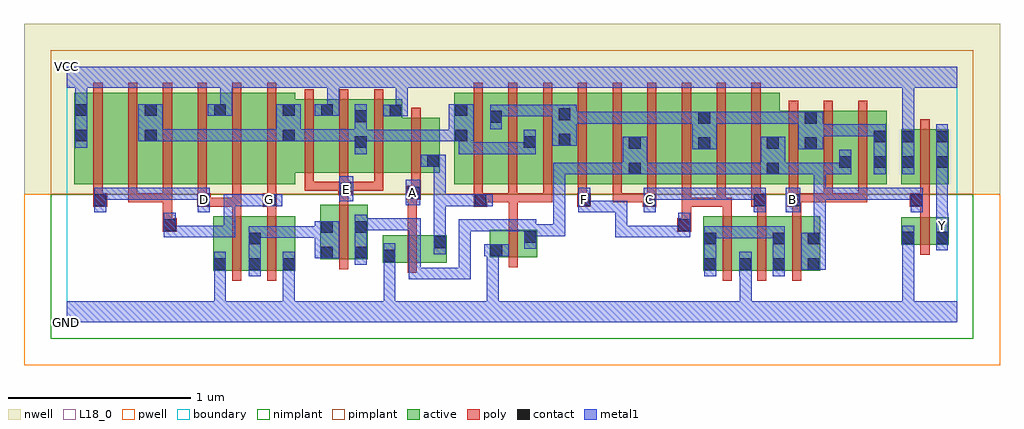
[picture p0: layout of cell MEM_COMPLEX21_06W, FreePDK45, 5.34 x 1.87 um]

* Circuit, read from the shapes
.subckt MEM_COMPLEX21_06W A B C D E F G GND VCC Y
M1 n1 D GND VSUBS nfet w=0.3u l=0.05u
M2 GND G n1 VSUBS nfet w=0.3u l=0.05u
M3 n2 E n1 VSUBS nfet w=0.3u l=0.05u
M4 n3 A GND VSUBS nfet w=0.15u l=0.05u
M5 n2 n3 GND VSUBS nfet w=0.15u l=0.05u
M6 GND F n4 VSUBS nfet w=0.3u l=0.05u
M7 n4 C GND VSUBS nfet w=0.3u l=0.05u
M8 n2 B n4 VSUBS nfet w=0.3u l=0.05u
M9 Y n2 GND VSUBS nfet w=0.15u l=0.05u
M10 n5 D VCC n6 pfet w=0.5u l=0.05u
M11 n7 G n5 n6 pfet w=0.5u l=0.05u
M12 n8 G n7 n6 pfet w=0.5u l=0.05u
M13 VCC D n8 n6 pfet w=0.5u l=0.05u
M14 n9 D VCC n6 pfet w=0.5u l=0.05u
M15 n7 G n9 n6 pfet w=0.5u l=0.05u
M16 VCC E n7 n6 pfet w=0.4u l=0.05u m=3
M17 n3 A VCC n6 pfet w=0.3u l=0.05u
M18 n10 n3 n7 n6 pfet w=0.5u l=0.05u m=3
M19 n11 F n10 n6 pfet w=0.5u l=0.05u
M20 n2 C n11 n6 pfet w=0.5u l=0.05u
M21 n12 C n2 n6 pfet w=0.5u l=0.05u
M22 n10 F n12 n6 pfet w=0.5u l=0.05u
M23 n13 F n10 n6 pfet w=0.5u l=0.05u
M24 n2 C n13 n6 pfet w=0.5u l=0.05u
M25 n10 B n2 n6 pfet w=0.4u l=0.05u m=3
M26 Y n2 VCC n6 pfet w=0.3u l=0.05u
.ends

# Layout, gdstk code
import gdstk
lib = gdstk.Library(unit=1e-6, precision=1e-09)
def R(c, l, rs):  # rectangles x0, y0, x1, y1
    for r in rs: c.add(gdstk.rectangle(r[:2], r[2:], *l))
def A(c, l, x, y, w, h, nx, ny, dx, dy):  # array of equal rectangles
    R(c, l, [(x+i*dx, y+j*dy, x+i*dx+w, y+j*dy+h) for i in range(nx) for j in range(ny)])
active = (1, 0)
pwell = (2, 0)
nwell = (3, 0)
nimplant = (4, 0)
pimplant = (5, 0)
poly = (9, 0)
contact = (10, 0)
metal1 = (11, 0)
L18_0 = (18, 0)
boundary = (235, 0)

mem_complex21_06w = lib.new_cell('MEM_COMPLEX21_06W')
A(mem_complex21_06w, active, 0.04, 0.757, 0.225, 0.5, 3, 1, 0.38, 0)
R(mem_complex21_06w, active, [(0.8,0.282,0.875,0.582), (0.8,0.282,1.065,0.582), (0.99,0.282,1.25,0.582), (0.99,0.282,1.065,0.497), (1.175,0.282,1.25,0.582), (3.482,0.282,3.557,0.582), (3.482,0.282,3.747,0.582), (3.672,0.282,3.932,0.582), (3.672,0.282,3.747,0.392), (3.857,0.282,3.932,0.582), (3.857,0.282,4.122,0.582), (4.047,0.282,4.122,0.582), (1.727,0.327,1.802,0.477), (1.727,0.327,2.077,0.477), (2.002,0.33,2.077,0.477), (1.385,0.345,1.46,0.645), (1.385,0.345,1.645,0.645), (1.57,0.345,1.645,0.645), (2.312,0.357,2.387,0.507), (2.312,0.357,2.572,0.507), (2.497,0.357,2.572,0.507), (4.565,0.425,4.64,0.575), (4.565,0.425,4.825,0.575), (4.75,0.425,4.825,0.575), (0.04,0.757,0.115,1.257), (0.265,0.757,0.495,1.257), (0.42,0.757,0.495,1.2), (0.645,0.757,0.875,1.257), (0.8,0.757,0.875,1.257), (1.025,0.757,1.25,1.257), (2.12,0.757,2.195,1.2), (2.12,0.757,2.385,1.257), (2.31,0.757,2.385,1.2), (2.31,0.757,2.57,1.257), (2.495,0.757,2.57,1.07), (2.495,0.757,2.76,1.257), (2.685,0.757,2.76,1.2), (2.685,0.757,2.915,1.257), (2.915,0.757,3.145,1.257), (3.07,0.757,3.145,1.07), (3.07,0.757,3.295,1.257), (3.295,0.757,3.525,1.257), (3.45,0.757,3.675,1.257), (3.45,0.757,3.525,1.2), (3.675,0.757,3.9,1.257), (3.825,0.757,3.9,1.07), (3.825,0.757,4.107,1.157), (4.032,0.757,4.295,1.157), (4.032,0.757,4.107,1.157), (4.22,0.757,4.485,1.157), (4.22,0.757,4.295,1.07), (4.41,0.757,4.485,1.155), (4.565,0.757,4.64,1.057), (4.565,0.757,4.825,1.057), (4.75,0.757,4.825,1.055), (1.175,0.82,1.46,1.22), (1.385,0.82,1.46,1.22), (1.385,0.82,1.645,1.22), (1.57,0.82,1.835,1.22), (1.57,0.82,1.645,1.2), (1.76,0.82,2.04,1.12), (1.965,0.847,2.04,1.055), (1.175,0.907,1.25,1.2), (1.76,0.995,1.835,1.22)])
R(mem_complex21_06w, pwell, [(-0.235,-0.235,5.105,0.7)])
R(mem_complex21_06w, nwell, [(-0.235,0.7,5.105,1.635)])
R(mem_complex21_06w, nimplant, [(-0.09,-0.09,4.96,0.7)])
R(mem_complex21_06w, pimplant, [(-0.09,0.7,4.96,1.49)])
A(mem_complex21_06w, poly, 3.587, 0.227, 0.05, 0.41, 3, 1, 0.19, 0)
A(mem_complex21_06w, poly, 3.587, 0.587, 0.05, 0.095, 3, 1, 0.19, 0)
A(mem_complex21_06w, poly, 0.145, 0.657, 0.05, 0.095, 4, 1, 0.19, 0)
A(mem_complex21_06w, poly, 2.225, 0.657, 0.05, 0.095, 6, 1, 0.19, 0)
A(mem_complex21_06w, poly, 3.95, 0.657, 0.05, 0.095, 3, 1, 0.19, 0)
A(mem_complex21_06w, poly, 0.145, 0.702, 0.05, 0.61, 6, 1, 0.19, 0)
A(mem_complex21_06w, poly, 2.225, 0.702, 0.05, 0.61, 9, 1, 0.19, 0)
A(mem_complex21_06w, poly, 3.95, 0.702, 0.05, 0.51, 3, 1, 0.19, 0)
A(mem_complex21_06w, poly, 1.3, 0.72, 0.05, 0.095, 3, 1, 0.19, 0)
A(mem_complex21_06w, poly, 1.3, 0.765, 0.05, 0.51, 3, 1, 0.19, 0)
R(mem_complex21_06w, poly, [(0.905,0.227,0.955,0.637), (1.095,0.227,1.145,0.637), (1.865,0.272,1.915,0.532), (1.49,0.29,1.54,0.7), (2.417,0.302,2.467,0.562), (4.67,0.37,4.72,0.63), (1.865,0.482,1.915,0.722), (0.525,0.495,0.6,0.57), (3.34,0.495,3.415,0.57), (2.417,0.512,2.467,0.707), (0.525,0.52,0.575,0.57), (0.525,0.52,0.575,0.57), (0.525,0.52,0.575,0.707), (3.365,0.52,3.415,0.57), (3.365,0.52,3.415,0.57), (3.365,0.52,3.415,0.682), (4.67,0.58,4.72,0.682), (0.905,0.587,0.955,0.682), (1.095,0.587,1.145,0.682), (0.145,0.632,0.22,0.707), (0.712,0.632,0.787,0.707), (0.737,0.632,0.787,0.682), (0.737,0.632,0.787,0.682), (0.737,0.632,0.955,0.682), (0.905,0.632,0.955,0.682), (0.905,0.632,0.955,0.752), (1.072,0.632,1.147,0.707), (2.225,0.632,2.3,0.707), (2.792,0.632,2.867,0.707), (3.15,0.632,3.225,0.707), (3.365,0.632,3.415,0.682), (3.365,0.632,3.415,0.682), (3.365,0.632,3.415,0.682), (3.365,0.632,3.605,0.682), (3.365,0.632,3.415,0.752), (3.555,0.632,3.605,0.752), (3.555,0.632,3.637,0.682), (3.745,0.632,3.827,0.707), (3.942,0.632,4.017,0.707), (4.612,0.632,4.72,0.707), (1.49,0.65,1.54,0.745), (0.335,0.657,0.385,0.707), (0.335,0.657,0.575,0.707), (0.525,0.657,0.575,0.707), (0.525,0.657,0.575,0.707), (0.525,0.657,0.575,0.707), (1.095,0.657,1.145,0.752), (2.25,0.657,2.465,0.707), (2.415,0.657,2.465,0.707), (2.415,0.657,2.465,0.707), (2.415,0.657,2.467,0.707), (2.417,0.657,2.655,0.707), (2.605,0.657,2.655,0.707), (2.605,0.657,2.655,0.707), (2.605,0.657,2.655,0.707), (2.985,0.657,3.035,0.707), (2.985,0.657,3.035,0.707), (2.985,0.657,3.035,0.707), (2.985,0.657,3.2,0.707), (3.745,0.657,3.795,0.752), (3.967,0.657,4.017,0.707), (3.967,0.657,4.017,0.707), (3.967,0.657,4.19,0.707), (4.14,0.657,4.19,0.707), (4.14,0.657,4.38,0.707), (4.33,0.657,4.38,0.707), (4.33,0.657,4.38,0.707), (4.33,0.657,4.38,0.707), (4.67,0.657,4.72,0.752), (1.86,0.672,1.935,0.747), (1.485,0.695,1.56,0.77), (1.885,0.697,1.935,0.815), (4.67,0.702,4.72,1.112), (1.3,0.72,1.35,0.77), (1.3,0.72,1.35,0.77), (1.3,0.72,1.35,0.77), (1.3,0.72,1.535,0.77), (1.51,0.72,1.56,0.77), (1.51,0.72,1.56,0.77), (1.51,0.72,1.73,0.77), (1.68,0.72,1.73,0.77), (1.885,0.765,1.935,1.175)])
A(mem_complex21_06w, contact, 0.045, 1.13, 0.065, 0.065, 3, 1, 0.38, 0)
R(mem_complex21_06w, contact, [(0.805,0.287,0.87,0.352), (0.995,0.287,1.06,0.352), (1.18,0.287,1.245,0.352), (3.487,0.287,3.552,0.352), (3.677,0.287,3.742,0.352), (3.862,0.287,3.927,0.352), (4.052,0.287,4.117,0.352), (1.732,0.332,1.797,0.397), (1.39,0.35,1.455,0.415), (1.575,0.35,1.64,0.415), (2.317,0.362,2.382,0.427), (2.007,0.407,2.072,0.472), (0.995,0.427,1.06,0.492), (3.487,0.427,3.552,0.492), (3.862,0.427,3.927,0.492), (4.052,0.427,4.117,0.492), (4.57,0.43,4.635,0.495), (4.755,0.43,4.82,0.495), (2.502,0.437,2.567,0.502), (1.39,0.49,1.455,0.555), (1.575,0.49,1.64,0.555), (0.53,0.5,0.595,0.565), (3.345,0.5,3.41,0.565), (0.15,0.637,0.215,0.702), (0.717,0.637,0.782,0.702), (1.077,0.637,1.142,0.702), (2.23,0.637,2.295,0.702), (2.797,0.637,2.862,0.702), (3.155,0.637,3.22,0.702), (3.757,0.637,3.822,0.702), (3.947,0.637,4.012,0.702), (4.617,0.637,4.682,0.702), (1.865,0.677,1.93,0.742), (1.49,0.7,1.555,0.765), (3.075,0.81,3.14,0.875), (3.83,0.81,3.895,0.875), (4.225,0.845,4.29,0.91), (4.415,0.845,4.48,0.91), (4.57,0.845,4.635,0.91), (4.755,0.845,4.82,0.91), (1.97,0.852,2.035,0.917), (3.455,0.947,3.52,1.012), (4.037,0.947,4.102,1.012), (3.075,0.95,3.14,1.015), (3.83,0.95,3.895,1.015), (1.575,0.955,1.64,1.02), (2.5,0.955,2.565,1.02), (2.69,0.967,2.755,1.032), (4.415,0.985,4.48,1.05), (4.57,0.985,4.635,1.05), (4.755,0.985,4.82,1.05), (0.045,0.99,0.11,1.055), (0.425,0.99,0.49,1.055), (1.18,0.99,1.245,1.055), (2.125,0.99,2.19,1.055), (3.455,1.087,3.52,1.152), (4.037,1.087,4.102,1.152), (2.315,1.092,2.38,1.157), (1.575,1.095,1.64,1.16), (2.69,1.107,2.755,1.172), (1.765,1.127,1.83,1.192), (1.18,1.13,1.245,1.195), (1.39,1.13,1.455,1.195), (2.125,1.13,2.19,1.195)])
R(mem_complex21_06w, metal1, [(0,0,4.87,0.115), (0.805,0.05,0.87,0.115), (0.805,0.05,0.87,0.115), (0.805,0.05,0.87,0.115), (0.805,0.05,0.87,0.115), (0.805,0.05,0.87,0.317), (1.18,0.05,1.245,0.115), (1.18,0.05,1.245,0.115), (1.18,0.05,1.245,0.317), (1.732,0.05,1.797,0.115), (1.732,0.05,1.797,0.115), (1.732,0.05,1.797,0.362), (2.297,0.05,2.362,0.115), (2.297,0.05,2.362,0.115), (2.297,0.05,2.362,0.115), (2.297,0.05,2.362,0.115), (2.297,0.05,2.362,0.115), (2.297,0.05,2.362,0.115), (2.297,0.05,2.362,0.427), (3.682,0.05,3.747,0.317), (4.57,0.05,4.635,0.115), (4.57,0.05,4.635,0.115), (4.57,0.05,4.635,0.115), (4.57,0.05,4.635,0.115), (4.57,0.05,4.635,0.115), (4.57,0.05,4.635,0.115), (4.57,0.05,4.635,0.46), (1.87,0.235,1.935,0.3), (1.87,0.235,1.935,0.3), (1.87,0.235,1.935,0.3), (1.87,0.235,2.21,0.3), (1.87,0.235,1.935,0.57), (2.145,0.235,2.21,0.3), (2.145,0.235,2.21,0.565), (0.805,0.252,0.87,0.387), (0.995,0.252,1.06,0.527), (1.18,0.252,1.245,0.317), (1.18,0.252,1.245,0.317), (1.18,0.252,1.245,0.387), (3.487,0.252,3.552,0.527), (3.677,0.252,3.747,0.387), (3.682,0.252,3.747,0.317), (3.682,0.252,3.747,0.317), (3.682,0.252,3.747,0.317), (3.682,0.252,3.747,0.317), (3.862,0.252,3.927,0.527), (4.017,0.287,4.152,0.492), (1.732,0.297,1.797,0.362), (1.732,0.297,1.797,0.362), (1.732,0.297,1.797,0.362), (1.732,0.297,1.797,0.362), (1.732,0.297,1.797,0.432), (1.575,0.315,1.64,0.59), (1.355,0.35,1.49,0.555), (2.282,0.362,2.417,0.427), (2.007,0.372,2.072,0.507), (4.57,0.395,4.635,0.53), (4.755,0.395,4.82,0.53), (2.502,0.402,2.567,0.537), (4.087,0.427,4.152,0.737), (2.007,0.442,2.072,0.702), (3.487,0.46,3.61,0.525), (3.545,0.46,3.61,0.525), (3.545,0.46,3.722,0.525), (3.657,0.46,3.722,0.525), (3.657,0.46,3.86,0.525), (3.795,0.46,3.86,0.525), (3.795,0.46,3.927,0.525), (0.995,0.462,1.06,0.527), (0.995,0.462,1.06,0.527), (0.995,0.462,1.282,0.527), (1.217,0.462,1.282,0.527), (1.217,0.462,1.282,0.527), (1.217,0.462,1.282,0.527), (1.217,0.462,1.42,0.527), (4.755,0.462,4.822,0.597), (0.53,0.465,0.595,0.6), (0.53,0.465,0.697,0.53), (0.632,0.465,0.697,0.53), (0.632,0.465,0.697,0.53), (0.632,0.465,0.697,0.53), (0.632,0.465,0.785,0.53), (0.72,0.465,0.785,0.53), (0.72,0.465,0.922,0.53), (0.857,0.465,0.922,0.53), (0.857,0.465,0.922,0.702), (3,0.465,3.065,0.53), (3,0.465,3.202,0.53), (3,0.465,3.065,0.667), (3.137,0.465,3.202,0.53), (3.137,0.465,3.347,0.53), (3.282,0.465,3.347,0.53), (3.282,0.465,3.347,0.53), (3.282,0.465,3.347,0.53), (3.282,0.465,3.41,0.53), (3.345,0.465,3.41,0.6), (4.755,0.465,4.82,0.53), (2.502,0.472,2.567,0.537), (2.502,0.472,2.725,0.537), (2.502,0.472,2.567,0.565), (2.66,0.472,2.725,0.537), (2.66,0.472,2.725,0.537), (2.66,0.472,2.725,0.537), (2.66,0.472,2.725,0.875), (2.145,0.5,2.21,0.565), (2.145,0.5,2.21,0.565), (2.145,0.5,2.21,0.565), (2.145,0.5,2.362,0.565), (2.297,0.5,2.362,0.565), (2.297,0.5,2.567,0.565), (1.575,0.505,1.64,0.57), (1.575,0.505,1.64,0.57), (1.575,0.505,1.797,0.57), (1.732,0.505,1.797,0.57), (1.732,0.505,1.935,0.57), (1.87,0.505,1.935,0.57), (4.755,0.532,4.82,0.875), (0.15,0.602,0.215,0.737), (0.717,0.602,0.782,0.737), (2.797,0.602,2.862,0.737), (2.797,0.602,2.927,0.667), (2.862,0.602,2.927,0.667), (2.862,0.602,3.065,0.667), (3,0.602,3.065,0.667), (3,0.602,3.065,0.667), (3,0.602,3.065,0.667), (3.155,0.602,3.222,0.737), (3.757,0.602,3.822,0.737), (3.932,0.602,4.012,0.737), (4.617,0.602,4.682,0.737), (0.857,0.637,0.922,0.702), (0.857,0.637,0.922,0.702), (0.857,0.637,0.922,0.702), (0.857,0.637,1.06,0.702), (0.995,0.637,1.06,0.702), (0.995,0.637,1.107,0.702), (1.042,0.637,1.177,0.702), (2.007,0.637,2.072,0.702), (2.007,0.637,2.072,0.702), (2.007,0.637,2.072,0.702), (2.007,0.637,2.26,0.702), (2.007,0.637,2.072,0.917), (2.195,0.637,2.33,0.702), (1.855,0.642,1.932,0.78), (1.49,0.662,1.567,0.8), (0.15,0.672,0.215,0.737), (0.15,0.672,0.215,0.737), (0.15,0.672,0.387,0.737), (0.322,0.672,0.387,0.737), (0.322,0.672,0.56,0.737), (0.495,0.672,0.56,0.737), (0.495,0.672,0.56,0.737), (0.495,0.672,0.56,0.737), (0.495,0.672,0.697,0.737), (0.632,0.672,0.697,0.737), (0.632,0.672,0.782,0.737), (3.157,0.672,3.312,0.737), (3.247,0.672,3.312,0.737), (3.247,0.672,3.412,0.737), (3.347,0.672,3.412,0.737), (3.347,0.672,3.585,0.737), (3.52,0.672,3.585,0.737), (3.52,0.672,3.585,0.737), (3.52,0.672,3.585,0.737), (3.52,0.672,3.722,0.737), (3.657,0.672,3.722,0.737), (3.657,0.672,3.822,0.737), (4.087,0.672,4.152,0.737), (4.087,0.672,4.205,0.737), (4.087,0.672,4.152,0.875), (4.14,0.672,4.205,0.737), (4.14,0.672,4.342,0.737), (4.277,0.672,4.342,0.737), (4.277,0.672,4.342,0.737), (4.277,0.672,4.342,0.737), (4.277,0.672,4.497,0.737), (4.432,0.672,4.497,0.737), (4.432,0.672,4.497,0.737), (4.432,0.672,4.497,0.737), (4.432,0.672,4.682,0.737), (2.66,0.81,2.725,0.875), (2.66,0.81,2.725,0.875), (2.66,0.81,2.725,0.875), (2.66,0.81,2.907,0.875), (2.842,0.81,2.907,0.875), (2.842,0.81,2.927,0.875), (2.862,0.81,2.927,0.875), (2.862,0.81,3.045,0.875), (2.98,0.81,3.045,0.875), (2.98,0.81,3.105,0.875), (3.04,0.81,3.175,1.015), (3.11,0.81,3.202,0.875), (3.137,0.81,3.202,0.875), (3.137,0.81,3.312,0.875), (3.247,0.81,3.312,0.875), (3.247,0.81,3.412,0.875), (3.347,0.81,3.412,0.875), (3.347,0.81,3.485,0.875), (3.42,0.81,3.485,0.875), (3.42,0.81,3.685,0.875), (3.62,0.81,3.685,0.875), (3.62,0.81,3.722,0.875), (3.657,0.81,3.722,0.875), (3.657,0.81,3.86,0.875), (3.795,0.81,3.86,0.875), (3.795,0.81,3.86,0.875), (3.795,0.81,3.93,1.015), (3.865,0.81,3.997,0.875), (3.932,0.81,3.997,0.875), (3.932,0.81,4.152,0.875), (4.087,0.81,4.152,0.875), (4.087,0.81,4.152,0.875), (4.087,0.81,4.152,0.875), (4.087,0.81,4.29,0.875), (4.225,0.81,4.29,0.945), (4.415,0.81,4.48,1.085), (4.57,0.81,4.635,1.085), (4.755,0.81,4.82,1.085), (1.935,0.852,2.072,0.917), (1.575,0.92,1.64,1.195), (2.145,0.92,2.21,0.985), (2.145,0.92,2.21,0.985), (2.145,0.92,2.21,0.985), (2.145,0.92,2.21,1.055), (2.145,0.92,2.427,0.985), (2.362,0.92,2.427,0.985), (2.362,0.92,2.427,0.985), (2.362,0.92,2.427,0.985), (2.362,0.92,2.565,0.985), (2.5,0.92,2.565,1.055), (3.42,0.947,3.555,1.152), (4.002,0.947,4.137,1.152), (0.045,0.955,0.11,1.23), (2.655,0.967,2.79,1.192), (0.39,0.99,0.525,1.195), (1.145,0.99,1.28,1.195), (1.575,0.99,1.777,1.055), (1.712,0.99,1.777,1.055), (1.712,0.99,1.777,1.055), (1.712,0.99,1.777,1.055), (1.712,0.99,1.777,1.055), (1.712,0.99,1.777,1.055), (1.712,0.99,1.935,1.055), (1.87,0.99,1.935,1.055), (1.87,0.99,1.935,1.055), (1.87,0.99,1.935,1.055), (1.87,0.99,2.155,1.055), (2.09,0.99,2.225,1.195), (0.46,0.992,0.525,1.057), (0.46,0.992,0.525,1.057), (0.46,0.992,0.697,1.057), (0.632,0.992,0.697,1.057), (0.632,0.992,0.732,1.057), (0.667,0.992,0.732,1.057), (0.667,0.992,0.922,1.057), (0.857,0.992,0.922,1.057), (0.857,0.992,0.922,1.057), (0.857,0.992,0.922,1.057), (0.857,0.992,1.072,1.057), (1.007,0.992,1.072,1.057), (1.007,0.992,1.072,1.057), (1.007,0.992,1.072,1.057), (1.007,0.992,1.21,1.057), (1.215,0.992,1.28,1.057), (1.215,0.992,1.28,1.057), (1.215,0.992,1.502,1.057), (1.437,0.992,1.502,1.057), (1.437,0.992,1.502,1.057), (1.437,0.992,1.502,1.057), (1.437,0.992,1.64,1.057), (4.072,1.02,4.18,1.085), (4.115,1.02,4.18,1.085), (4.115,1.02,4.29,1.085), (4.225,1.02,4.29,1.085), (4.225,1.02,4.36,1.085), (4.295,1.02,4.36,1.085), (4.295,1.02,4.48,1.085), (4.57,1.02,4.635,1.085), (4.57,1.02,4.635,1.085), (4.57,1.02,4.635,1.35), (2.315,1.057,2.38,1.192), (2.725,1.087,2.907,1.152), (2.842,1.087,2.907,1.152), (2.842,1.087,2.927,1.152), (2.862,1.087,2.927,1.152), (2.862,1.087,3.045,1.152), (2.98,1.087,3.045,1.152), (2.98,1.087,3.172,1.152), (3.107,1.087,3.172,1.152), (3.107,1.087,3.202,1.152), (3.137,1.087,3.202,1.152), (3.137,1.087,3.312,1.152), (3.247,1.087,3.312,1.152), (3.247,1.087,3.417,1.152), (3.352,1.087,3.417,1.152), (3.352,1.087,3.485,1.152), (3.49,1.087,3.555,1.152), (3.49,1.087,3.555,1.152), (3.49,1.087,3.722,1.152), (3.657,1.087,3.722,1.152), (3.657,1.087,3.86,1.152), (3.795,1.087,3.86,1.152), (3.795,1.087,3.86,1.152), (3.795,1.087,3.86,1.152), (3.795,1.087,4.015,1.152), (3.95,1.087,4.015,1.152), (3.95,1.087,4.067,1.152), (1.73,1.127,1.865,1.192), (1.8,1.127,1.865,1.35), (2.315,1.127,2.38,1.192), (2.315,1.127,2.38,1.192), (2.315,1.127,2.567,1.192), (2.502,1.127,2.567,1.192), (2.502,1.127,2.705,1.192), (2.64,1.127,2.705,1.192), (2.64,1.127,2.72,1.192), (0.77,1.13,0.905,1.195), (0.84,1.13,0.905,1.35), (1.355,1.13,1.49,1.195), (1.425,1.13,1.49,1.35), (0.045,1.165,0.11,1.35), (0,1.285,4.87,1.4)])
R(mem_complex21_06w, L18_0, [(0,0,4.87,0.115), (0.805,0.05,0.87,0.115), (0.805,0.05,0.87,0.115), (0.805,0.05,0.87,0.115), (0.805,0.05,0.87,0.115), (0.805,0.05,0.87,0.317), (1.18,0.05,1.245,0.115), (1.18,0.05,1.245,0.115), (1.18,0.05,1.245,0.317), (1.732,0.05,1.797,0.115), (1.732,0.05,1.797,0.115), (1.732,0.05,1.797,0.362), (2.297,0.05,2.362,0.115), (2.297,0.05,2.362,0.115), (2.297,0.05,2.362,0.115), (2.297,0.05,2.362,0.115), (2.297,0.05,2.362,0.115), (2.297,0.05,2.362,0.115), (2.297,0.05,2.362,0.427), (3.682,0.05,3.747,0.317), (4.57,0.05,4.635,0.115), (4.57,0.05,4.635,0.115), (4.57,0.05,4.635,0.115), (4.57,0.05,4.635,0.115), (4.57,0.05,4.635,0.115), (4.57,0.05,4.635,0.115), (4.57,0.05,4.635,0.46), (0.805,0.252,0.87,0.387), (1.18,0.252,1.245,0.387), (1.18,0.252,1.245,0.317), (1.18,0.252,1.245,0.317), (3.677,0.252,3.747,0.387), (3.682,0.252,3.747,0.317), (3.682,0.252,3.747,0.317), (3.682,0.252,3.747,0.317), (3.682,0.252,3.747,0.317), (1.732,0.297,1.797,0.432), (1.732,0.297,1.797,0.362), (1.732,0.297,1.797,0.362), (1.732,0.297,1.797,0.362), (1.732,0.297,1.797,0.362), (2.282,0.362,2.417,0.427), (4.57,0.395,4.635,0.53), (4.755,0.395,4.82,0.53), (4.755,0.462,4.822,0.597), (0.53,0.465,0.595,0.6), (0.53,0.465,0.697,0.53), (0.632,0.465,0.697,0.53), (0.632,0.465,0.697,0.53), (0.632,0.465,0.697,0.53), (0.632,0.465,0.785,0.53), (0.72,0.465,0.785,0.53), (0.72,0.465,0.922,0.53), (0.857,0.465,0.922,0.53), (0.857,0.465,0.922,0.702), (3,0.465,3.065,0.53), (3,0.465,3.202,0.53), (3,0.465,3.065,0.667), (3.137,0.465,3.202,0.53), (3.137,0.465,3.347,0.53), (3.282,0.465,3.347,0.53), (3.282,0.465,3.347,0.53), (3.282,0.465,3.347,0.53), (3.282,0.465,3.41,0.53), (3.345,0.465,3.41,0.6), (4.755,0.465,4.82,0.53), (4.757,0.497,4.822,0.562), (4.755,0.532,4.82,0.875), (0.15,0.602,0.215,0.737), (0.717,0.602,0.782,0.737), (2.797,0.602,2.862,0.737), (2.797,0.602,2.927,0.667), (2.862,0.602,2.927,0.667), (2.862,0.602,3.065,0.667), (3,0.602,3.065,0.667), (3,0.602,3.065,0.667), (3,0.602,3.065,0.667), (3.155,0.602,3.222,0.737), (3.757,0.602,3.822,0.737), (3.932,0.602,4.012,0.737), (0.717,0.637,0.782,0.702), (0.857,0.637,0.922,0.702), (0.857,0.637,0.922,0.702), (0.857,0.637,0.922,0.702), (0.857,0.637,1.06,0.702), (0.995,0.637,1.06,0.702), (0.995,0.637,1.107,0.702), (1.042,0.637,1.177,0.702), (1.077,0.637,1.142,0.702), (2.797,0.637,2.862,0.702), (3.157,0.637,3.222,0.702), (3.937,0.637,4.002,0.702), (1.855,0.642,1.932,0.78), (1.49,0.662,1.567,0.8), (0.15,0.672,0.215,0.737), (0.15,0.672,0.215,0.737), (0.15,0.672,0.387,0.737), (0.322,0.672,0.387,0.737), (0.322,0.672,0.56,0.737), (0.495,0.672,0.56,0.737), (0.495,0.672,0.56,0.737), (0.495,0.672,0.56,0.737), (0.495,0.672,0.697,0.737), (0.632,0.672,0.697,0.737), (0.632,0.672,0.782,0.737), (3.157,0.672,3.312,0.737), (3.247,0.672,3.312,0.737), (3.247,0.672,3.412,0.737), (3.347,0.672,3.412,0.737), (3.347,0.672,3.585,0.737), (3.52,0.672,3.585,0.737), (3.52,0.672,3.585,0.737), (3.52,0.672,3.585,0.737), (3.52,0.672,3.722,0.737), (3.657,0.672,3.722,0.737), (3.657,0.672,3.822,0.737), (1.857,0.677,1.922,0.742), (1.497,0.697,1.562,0.762), (4.57,0.81,4.635,1.085), (4.755,0.81,4.82,1.085), (0.045,0.955,0.11,1.23), (4.57,1.02,4.635,1.085), (4.57,1.02,4.635,1.085), (4.57,1.02,4.635,1.35), (1.73,1.127,1.865,1.192), (1.8,1.127,1.865,1.35), (0.77,1.13,0.905,1.195), (0.84,1.13,0.905,1.35), (1.355,1.13,1.49,1.195), (1.425,1.13,1.49,1.35), (0.045,1.165,0.11,1.35), (0,1.285,4.87,1.4)])
R(mem_complex21_06w, boundary, [(0,0,4.87,1.4)])
mem_complex21_06w.add(gdstk.Label('A', (1.89,0.71), layer=11, texttype=0))
mem_complex21_06w.add(gdstk.Label('B', (3.97,0.67), layer=11, texttype=0))
mem_complex21_06w.add(gdstk.Label('C', (3.19,0.67), layer=11, texttype=0))
mem_complex21_06w.add(gdstk.Label('D', (0.75,0.67), layer=11, texttype=0))
mem_complex21_06w.add(gdstk.Label('E', (1.53,0.73), layer=11, texttype=0))
mem_complex21_06w.add(gdstk.Label('F', (2.83,0.67), layer=11, texttype=0))
mem_complex21_06w.add(gdstk.Label('G', (1.11,0.67), layer=11, texttype=0))
mem_complex21_06w.add(gdstk.Label('Y', (4.79,0.53), layer=11, texttype=0))
mem_complex21_06w.add(gdstk.Label('VCC', (0,1.4), layer=11, texttype=0))
mem_complex21_06w.add(gdstk.Label('GND', (0,0), layer=11, texttype=0))

lib.write_gds('MEM_COMPLEX21_06W.gds')
